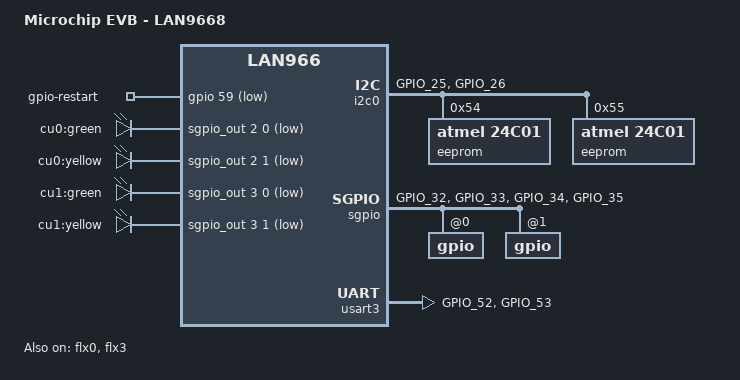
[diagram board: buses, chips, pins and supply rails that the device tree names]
// SPDX-License-Identifier: (GPL-2.0+ OR MIT)
/*
 * lan966x-pcb8385.dts - Device Tree file for PCB8385
 */
/dts-v1/;

#include "lan966x.dtsi"
#include "dt-bindings/phy/phy-lan966x-serdes.h"

/ {
	model = "Microchip EVB - LAN9668";
	compatible = "microchip,lan9668-pcb8385", "microchip,lan9668", "microchip,lan966";

	aliases {
		serial0 = &usart3;
	};

	chosen {
		stdout-path = "serial0:115200n8";
	};

	gpio-restart {
		compatible = "gpio-restart";
		gpios = <&gpio 59 GPIO_ACTIVE_LOW>;
		open-source;
		priority = <200>;
	};

	leds {
		compatible = "gpio-leds";

		led-p1-green {
			label = "cu0:green";
			gpios = <&sgpio_out 2 0 GPIO_ACTIVE_LOW>;
			default-state = "off";
		};

		led-p1-yellow {
			label = "cu0:yellow";
			gpios = <&sgpio_out 2 1 GPIO_ACTIVE_LOW>;
			default-state = "off";
		};

		led-p2-green {
			label = "cu1:green";
			gpios = <&sgpio_out 3 0 GPIO_ACTIVE_LOW>;
			default-state = "off";
		};

		led-p2-yellow {
			label = "cu1:yellow";
			gpios = <&sgpio_out 3 1 GPIO_ACTIVE_LOW>;
			default-state = "off";
		};
	};
};

&aes {
	status = "reserved"; /* Reserved by secure OS */
};

&flx0 {
	atmel,flexcom-mode = <ATMEL_FLEXCOM_MODE_TWI>;
	status = "okay";
};

&flx3 {
	atmel,flexcom-mode = <ATMEL_FLEXCOM_MODE_USART>;
	status = "okay";
};

&gpio {
	fc0_b_pins: fc0-b-pins {
		/* SCL, SDA */
		pins = "GPIO_25", "GPIO_26";
		function = "fc0_b";
	};

	fc3_b_pins: fc3-b-pins {
		/* RX, TX */
		pins = "GPIO_52", "GPIO_53";
		function = "fc3_b";
	};

	sgpio_a_pins: sgpio-a-pins {
		/* SCK, D0, D1, LD */
		pins = "GPIO_32", "GPIO_33", "GPIO_34", "GPIO_35";
		function = "sgpio_a";
	};
};

&i2c0 {
	pinctrl-0 = <&fc0_b_pins>;
	pinctrl-names = "default";
	dmas = <0>, <0>;
	i2c-analog-filter;
	i2c-digital-filter;
	i2c-digital-filter-width-ns = <35>;
	i2c-sda-hold-time-ns = <1500>;
	status = "okay";

	eeprom@54 {
		compatible = "atmel,24c01";
		reg = <0x54>;
	};

	eeprom@55 {
		compatible = "atmel,24c01";
		reg = <0x55>;
	};
};

&sgpio {
	pinctrl-0 = <&sgpio_a_pins>;
	pinctrl-names = "default";
	microchip,sgpio-port-ranges = <0 3>;
	status = "okay";

	gpio@0 {
		ngpios = <64>;
	};
	gpio@1 {
		ngpios = <64>;
	};
};

&usart3 {
	pinctrl-0 = <&fc3_b_pins>;
	pinctrl-names = "default";
	status = "okay";
};
